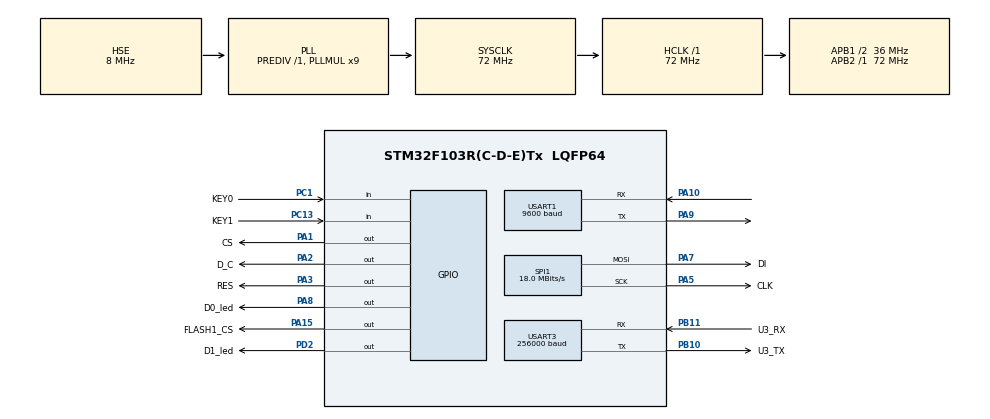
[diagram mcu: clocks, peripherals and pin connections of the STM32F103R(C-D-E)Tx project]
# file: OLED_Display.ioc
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Dma.Request0=SPI1_TX
Dma.Request1=USART3_TX
Dma.SPI1_TX.0.Direction=DMA_MEMORY_TO_PERIPH
Dma.SPI1_TX.0.Instance=DMA1_Channel3
Dma.SPI1_TX.0.MemDataAlignment=DMA_MDATAALIGN_BYTE
Dma.SPI1_TX.0.MemInc=DMA_MINC_ENABLE
Dma.SPI1_TX.0.Mode=DMA_NORMAL
Dma.SPI1_TX.0.PeriphDataAlignment=DMA_PDATAALIGN_BYTE
Dma.SPI1_TX.0.PeriphInc=DMA_PINC_DISABLE
Dma.SPI1_TX.0.Priority=DMA_PRIORITY_VERY_HIGH
Dma.USART3_TX.1.Direction=DMA_MEMORY_TO_PERIPH
Dma.USART3_TX.1.Instance=DMA1_Channel2
Dma.USART3_TX.1.MemDataAlignment=DMA_MDATAALIGN_BYTE
Dma.USART3_TX.1.MemInc=DMA_MINC_ENABLE
Dma.USART3_TX.1.Mode=DMA_NORMAL
Dma.USART3_TX.1.PeriphDataAlignment=DMA_PDATAALIGN_BYTE
Dma.USART3_TX.1.PeriphInc=DMA_PINC_DISABLE
Dma.USART3_TX.1.Priority=DMA_PRIORITY_LOW
Mcu.Family=STM32F1
Mcu.Name=STM32F103R(C-D-E)Tx
Mcu.Package=LQFP64
NVIC.DMA1_Channel2_IRQn=true\:0\:0\:false\:false\:true\:false
NVIC.DMA1_Channel3_IRQn=true\:0\:0\:false\:false\:true\:false
NVIC.PriorityGroup=NVIC_PRIORITYGROUP_4
NVIC.RCC_IRQn=true\:0\:0\:false\:true\:true\:1\:true
NVIC.USART1_IRQn=true\:1\:0\:true\:true\:true\:3\:true
NVIC.USART3_IRQn=true\:1\:0\:true\:true\:true\:2\:true
PA1.GPIO_Label=CS
PA1.GPIO_Speed=GPIO_SPEED_FREQ_HIGH
PA1.PinState=GPIO_PIN_SET
PA1.Signal=GPIO_Output
PA10.Mode=Asynchronous
PA10.Signal=USART1_RX
PA13.Mode=Serial_Wire
PA13.Signal=SYS_JTMS-SWDIO
PA14.Mode=Serial_Wire
PA14.Signal=SYS_JTCK-SWCLK
PA15.GPIO_Label=FLASH1_CS
PA15.GPIO_Speed=GPIO_SPEED_FREQ_HIGH
PA15.PinState=GPIO_PIN_SET
PA15.Signal=GPIO_Output
PA2.GPIO_Label=D_C
PA2.GPIO_Speed=GPIO_SPEED_FREQ_HIGH
PA2.PinState=GPIO_PIN_SET
PA2.Signal=GPIO_Output
PA3.GPIO_Label=RES
PA3.GPIO_Speed=GPIO_SPEED_FREQ_HIGH
PA3.PinState=GPIO_PIN_SET
PA3.Signal=GPIO_Output
PA5.GPIO_Label=CLK
PA5.Mode=TX_Only_Simplex_Unidirect_Master
PA5.Signal=SPI1_SCK
PA7.GPIO_Label=DI
PA7.Mode=TX_Only_Simplex_Unidirect_Master
PA7.Signal=SPI1_MOSI
PA8.GPIO_Label=D0_led
PA8.PinState=GPIO_PIN_SET
PA8.Signal=GPIO_Output
PA9.Mode=Asynchronous
PA9.Signal=USART1_TX
PB10.GPIO_Label=U3_TX
PB10.Mode=Asynchronous
PB10.Signal=USART3_TX
PB11.GPIO_Label=U3_RX
PB11.Mode=Asynchronous
PB11.Signal=USART3_RX
PC1.GPIO_Label=KEY0
PC1.GPIO_PuPd=GPIO_PULLUP
PC1.Signal=GPIO_Input
PC13-TAMPER-RTC.GPIO_Label=KEY1
PC13-TAMPER-RTC.GPIO_PuPd=GPIO_PULLUP
PC13-TAMPER-RTC.Signal=GPIO_Input
PD0-OSC_IN.Mode=HSE-External-Oscillator
PD0-OSC_IN.Signal=RCC_OSC_IN
PD1-OSC_OUT.Mode=HSE-External-Oscillator
PD1-OSC_OUT.Signal=RCC_OSC_OUT
PD2.GPIO_Label=D1_led
PD2.PinState=GPIO_PIN_SET
PD2.Signal=GPIO_Output
ProjectManager.HeapSize=0x200
ProjectManager.StackSize=0x400
ProjectManager.TargetToolchain=TrueSTUDIO
RCC.AHBFreq_Value=72000000
RCC.APB1CLKDivider=RCC_HCLK_DIV2
RCC.APB1Freq_Value=36000000
RCC.APB1TimFreq_Value=72000000
RCC.APB2Freq_Value=72000000
RCC.APB2TimFreq_Value=72000000
RCC.EnbaleCSS=true
RCC.HCLKFreq_Value=72000000
RCC.PLLMUL=RCC_PLL_MUL9
RCC.PLLSourceVirtual=RCC_PLLSOURCE_HSE
RCC.SYSCLKFreq_VALUE=72000000
RCC.SYSCLKSource=RCC_SYSCLKSOURCE_PLLCLK
RCC.USBFreq_Value=72000000
SPI1.BaudRatePrescaler=SPI_BAUDRATEPRESCALER_4
SPI1.CalculateBaudRate=18.0 MBits/s
SPI1.Direction=SPI_DIRECTION_2LINES
SPI1.Mode=SPI_MODE_MASTER
SPI1.VirtualType=VM_MASTER
USART1.BaudRate=9600
USART1.VirtualMode=VM_ASYNC
USART3.BaudRate=256000
USART3.VirtualMode=VM_ASYNC
board=OLED_Display

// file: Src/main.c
/**
  ******************************************************************************
  * File Name          : main.c
  * Description        : Main program body
  ******************************************************************************
  ** This notice applies to any and all portions of this file
  * that are not between comment pairs USER CODE BEGIN and
  * USER CODE END. Other portions of this file, whether
  * inserted by the user or by software development tools
  * are owned by their respective copyright owners.
  *
  * COPYRIGHT(c) 2018 STMicroelectronics
  *
  * Redistribution and use in source and binary forms, with or without modification,
  * are permitted provided that the following conditions are met:
  *   1. Redistributions of source code must retain the above copyright notice,
  *      this list of conditions and the following disclaimer.
  *   2. Redistributions in binary form must reproduce the above copyright notice,
  *      this list of conditions and the following disclaimer in the documentation
  *      and/or other materials provided with the distribution.
  *   3. Neither the name of STMicroelectronics nor the names of its contributors
  *      may be used to endorse or promote products derived from this software
  *      without specific prior written permission.
  *
  * THIS SOFTWARE IS PROVIDED BY THE COPYRIGHT HOLDERS AND CONTRIBUTORS "AS IS"
  * AND ANY EXPRESS OR IMPLIED WARRANTIES, INCLUDING, BUT NOT LIMITED TO, THE
  * IMPLIED WARRANTIES OF MERCHANTABILITY AND FITNESS FOR A PARTICULAR PURPOSE ARE
  * DISCLAIMED. IN NO EVENT SHALL THE COPYRIGHT HOLDER OR CONTRIBUTORS BE LIABLE
  * FOR ANY DIRECT, INDIRECT, INCIDENTAL, SPECIAL, EXEMPLARY, OR CONSEQUENTIAL
  * DAMAGES (INCLUDING, BUT NOT LIMITED TO, PROCUREMENT OF SUBSTITUTE GOODS OR
  * SERVICES; LOSS OF USE, DATA, OR PROFITS; OR BUSINESS INTERRUPTION) HOWEVER
  * CAUSED AND ON ANY THEORY OF LIABILITY, WHETHER IN CONTRACT, STRICT LIABILITY,
  * OR TORT (INCLUDING NEGLIGENCE OR OTHERWISE) ARISING IN ANY WAY OUT OF THE USE
  * OF THIS SOFTWARE, EVEN IF ADVISED OF THE POSSIBILITY OF SUCH DAMAGE.
  *
  ******************************************************************************
  */

#include "main.h"
#include "stm32f1xx_hal.h"

/* USER CODE BEGIN Includes */

#include "DRV/drv_SysClock.h"
#include "DRV/drv_LED.h"

#include "DRV/Images.h"
#include "DRV/drv_OLED_Display.h"

#define PORT_DI       GPIOA
#define PIN_DI        7

#define PORT_SCK      GPIOA
#define PIN_SCK       5

#define PORT_CS       GPIOA
#define PIN_CS        1

#define PORT_RESET    GPIOA
#define PIN_RESET     3

#define PORT_DC       GPIOA
#define PIN_DC        2

#define HEARTBIT_PORT     GPIOD
#define HEARTBIT_PIN      2
/* USER CODE END Includes */

SPI_HandleTypeDef hspi1;
DMA_HandleTypeDef hdma_spi1_tx;

UART_HandleTypeDef huart1;
UART_HandleTypeDef huart3;
DMA_HandleTypeDef hdma_usart3_tx;

/* USER CODE BEGIN PV */
/* Private variables ---------------------------------------------------------*/

/* USER CODE END PV */

void SystemClock_Config(void);
static void MX_GPIO_Init(void);
static void MX_DMA_Init(void);
static void MX_SPI1_Init(void);
static void MX_USART3_UART_Init(void);
static void MX_USART1_UART_Init(void);
static void MX_NVIC_Init(void);

/* USER CODE BEGIN PFP */
/* Private function prototypes -----------------------------------------------*/

/* USER CODE END PFP */

int main(void)
{

  /* MCU Configuration----------------------------------------------------------*/

  /* Reset of all peripherals, Initializes the Flash interface and the Systick. */
  HAL_Init();

  /* Configure the system clock */
  SystemClock_Config();

  /* Initialize all configured peripherals */
  MX_GPIO_Init();
  MX_DMA_Init();
  MX_SPI1_Init();
  MX_USART3_UART_Init();
  MX_USART1_UART_Init();

  /* Initialize interrupts */
  MX_NVIC_Init();

  /* USER CODE BEGIN 2 */
  drv_SysClock_Init();

  drv_Led_Init(HEARTBIT_PORT, HEARTBIT_PIN, 1, 0);
  drv_Led_SetMode(led_HEARTBIT, mode_BLINK);

  drv_OLED_Display_Init(&hspi1, PORT_DI, PORT_SCK, PORT_CS, PORT_DC, PORT_RESET,
		                PIN_DI, PIN_SCK, PIN_CS, PIN_DC, PIN_RESET);

  drv_OLED_Display_Clear();
  drv_OLED_Display_FillScreen(COLOR_BLACK);

picture_t Cross;
picture_t Heart;

Cross.heigh = 6;
Cross.width = 6;
Cross.image = crossPicture;

Heart.heigh = 10;
Heart.width = 14;
Heart.image = heartPicture;

  /* USER CODE END 2 */

  uint8_t index = 0;
  uint16_t colors[12] = {
		  COLOR_WHITE,
		  COLOR_BLACK,
		  COLOR_RED,
		  COLOR_PURP,
		  COLOR_GREEN,
		  COLOR_BLUE,
		  COLOR_YELLOW,
		  COLOR_SIEMENS,
		  COLOR_MAGENTA,
		  COLOR_LMAGENTA,
		  COLOR_TURQUOISE,
		  COLOR_DGREEN
  };

/*  drv_OLED_Display_DrawPictire(50, 50,
		                       Heart.width, Heart.heigh,
		                       Heart.image, COLOR_RED);
  drv_OLED_Display_DrawPictire(60, 47,
		                       Cross.width, Cross.heigh,
		                       Cross.image, COLOR_DGREEN);*/

  drv_OLED_Display_DrawImage(0, 0, 128, 128, imageMass);

  /*drv_OLED_Display_FillScreen(COLOR_BLACK);
  drv_OLED_Display_DrawPictire(50, 0,
		                       10, 10,
							   Numbers[0], COLOR_WHITE);
  drv_OLED_Display_DrawPictire(50, 10,
  		                       10, 10,
							   Numbers[(1 * 10)], COLOR_BLUE);
  drv_OLED_Display_DrawPictire(50, 20,
    		                       10, 10,
  							   Numbers[(2 * 10)], COLOR_BLUE);
  drv_OLED_Display_DrawPictire(50, 30,
    		                       10, 10,
  							   Numbers[(3 * 10)], COLOR_BLUE);
  drv_OLED_Display_DrawPictire(50, 40,
    		                       10, 10,
  							   Numbers[(4 * 10)], COLOR_BLUE);
  drv_OLED_Display_DrawPictire(50, 50,
    		                       10, 10,
  							   Numbers[(5 * 10)], COLOR_BLUE);
  drv_OLED_Display_DrawPictire(50, 60,
    		                       10, 10,
  							   Numbers[(6 * 10)], COLOR_BLUE);
  drv_OLED_Display_DrawPictire(50, 70,
    		                       10, 10,
  							   Numbers[(7 * 10)], COLOR_BLUE);
  drv_OLED_Display_DrawPictire(50, 80,
    		                       10, 10,
  							   Numbers[(8 * 10)], COLOR_BLUE);
  drv_OLED_Display_DrawPictire(50, 90,
    		                       10, 10,
  							   Numbers[(9 * 10)], COLOR_BLUE);*/

  static uint32_t time = 0;
  static uint8_t x = 0;
  static uint8_t y = 0;

  /* Infinite loop */
  while (1)
  {
    drv_Led_Run();

 /*   if (drv_SysClock_IsTimeSpent(time, 50)) {

    	  drv_OLED_Display_DrawPictire(x, y,
    			                       Cross.width, Cross.heigh,
    			                       Cross.image, COLOR_BLACK);

    	   x += 1;
    	   if( x > (126 - Cross.width) ){
    		   x = 0;
    		   y += Cross.heigh;
				if (y > (126 - Cross.heigh)) {
					y = 0;
				}
    	   }
    	   drv_OLED_Display_DrawPictire(50, 50,
    	 		                       Heart.width, Heart.heigh,
    	 		                       Heart.image, COLOR_RED);
    	   drv_OLED_Display_DrawPictire(x, y,
    	 		                       Cross.width, Cross.heigh,
    	 		                       Cross.image, COLOR_DGREEN);

			time = drv_SysClock_GetCurrentTime();
		}*/

   /* if (drv_SysClock_IsTimeSpent(time, 1000)) {
			drv_OLED_Display_FillRectangle(40, 40, 90, 90, colors[index]);

			for (uint8_t x = 10; x < 120; x += 10) {
				drv_OLED_Display_DrawPixel(x, 20, colors[index]);
			}

			index += 1;
			if (index > 11) {
				index = 0;
			}
			time = drv_SysClock_GetCurrentTime();
	}*/

  }

}

/** System Clock Configuration
*/
void SystemClock_Config(void)
{

  RCC_OscInitTypeDef RCC_OscInitStruct;
  RCC_ClkInitTypeDef RCC_ClkInitStruct;

    /**Initializes the CPU, AHB and APB busses clocks
    */
  RCC_OscInitStruct.OscillatorType = RCC_OSCILLATORTYPE_HSE;
  RCC_OscInitStruct.HSEState = RCC_HSE_ON;
  RCC_OscInitStruct.HSEPredivValue = RCC_HSE_PREDIV_DIV1;
  RCC_OscInitStruct.HSIState = RCC_HSI_ON;
  RCC_OscInitStruct.PLL.PLLState = RCC_PLL_ON;
  RCC_OscInitStruct.PLL.PLLSource = RCC_PLLSOURCE_HSE;
  RCC_OscInitStruct.PLL.PLLMUL = RCC_PLL_MUL9;
  if (HAL_RCC_OscConfig(&RCC_OscInitStruct) != HAL_OK)
  {
    _Error_Handler(__FILE__, __LINE__);
  }

    /**Initializes the CPU, AHB and APB busses clocks
    */
  RCC_ClkInitStruct.ClockType = RCC_CLOCKTYPE_HCLK|RCC_CLOCKTYPE_SYSCLK
                              |RCC_CLOCKTYPE_PCLK1|RCC_CLOCKTYPE_PCLK2;
  RCC_ClkInitStruct.SYSCLKSource = RCC_SYSCLKSOURCE_PLLCLK;
  RCC_ClkInitStruct.AHBCLKDivider = RCC_SYSCLK_DIV1;
  RCC_ClkInitStruct.APB1CLKDivider = RCC_HCLK_DIV2;
  RCC_ClkInitStruct.APB2CLKDivider = RCC_HCLK_DIV1;

  if (HAL_RCC_ClockConfig(&RCC_ClkInitStruct, FLASH_LATENCY_2) != HAL_OK)
  {
    _Error_Handler(__FILE__, __LINE__);
  }

    /**Enables the Clock Security System
    */
  HAL_RCC_EnableCSS();

    /**Configure the Systick interrupt time
    */
  HAL_SYSTICK_Config(HAL_RCC_GetHCLKFreq()/1000);

    /**Configure the Systick
    */
  HAL_SYSTICK_CLKSourceConfig(SYSTICK_CLKSOURCE_HCLK);

  /* SysTick_IRQn interrupt configuration */
  HAL_NVIC_SetPriority(SysTick_IRQn, 0, 0);
}

/** NVIC Configuration
*/
static void MX_NVIC_Init(void)
{
  /* RCC_IRQn interrupt configuration */
  HAL_NVIC_SetPriority(RCC_IRQn, 0, 0);
  HAL_NVIC_EnableIRQ(RCC_IRQn);
  /* USART3_IRQn interrupt configuration */
  HAL_NVIC_SetPriority(USART3_IRQn, 1, 0);
  HAL_NVIC_EnableIRQ(USART3_IRQn);
  /* USART1_IRQn interrupt configuration */
  HAL_NVIC_SetPriority(USART1_IRQn, 1, 0);
  HAL_NVIC_EnableIRQ(USART1_IRQn);
}

/* SPI1 init function */
static void MX_SPI1_Init(void)
{

  /* SPI1 parameter configuration*/
  hspi1.Instance = SPI1;
  hspi1.Init.Mode = SPI_MODE_MASTER;
  hspi1.Init.Direction = SPI_DIRECTION_1LINE;
  hspi1.Init.DataSize = SPI_DATASIZE_8BIT;
  hspi1.Init.CLKPolarity = SPI_POLARITY_LOW;
  hspi1.Init.CLKPhase = SPI_PHASE_1EDGE;
  hspi1.Init.NSS = SPI_NSS_SOFT;
  hspi1.Init.BaudRatePrescaler = SPI_BAUDRATEPRESCALER_4;
  hspi1.Init.FirstBit = SPI_FIRSTBIT_MSB;
  hspi1.Init.TIMode = SPI_TIMODE_DISABLE;
  hspi1.Init.CRCCalculation = SPI_CRCCALCULATION_DISABLE;
  hspi1.Init.CRCPolynomial = 7;
  if (HAL_SPI_Init(&hspi1) != HAL_OK)
  {
    _Error_Handler(__FILE__, __LINE__);
  }

}

/* USART1 init function */
static void MX_USART1_UART_Init(void)
{

  huart1.Instance = USART1;
  huart1.Init.BaudRate = 9600;
  huart1.Init.WordLength = UART_WORDLENGTH_8B;
  huart1.Init.StopBits = UART_STOPBITS_1;
  huart1.Init.Parity = UART_PARITY_NONE;
  huart1.Init.Mode = UART_MODE_TX_RX;
  huart1.Init.HwFlowCtl = UART_HWCONTROL_NONE;
  huart1.Init.OverSampling = UART_OVERSAMPLING_16;
  if (HAL_UART_Init(&huart1) != HAL_OK)
  {
    _Error_Handler(__FILE__, __LINE__);
  }

}

/* USART3 init function */
static void MX_USART3_UART_Init(void)
{

  huart3.Instance = USART3;
  huart3.Init.BaudRate = 256000;
  huart3.Init.WordLength = UART_WORDLENGTH_8B;
  huart3.Init.StopBits = UART_STOPBITS_1;
  huart3.Init.Parity = UART_PARITY_NONE;
  huart3.Init.Mode = UART_MODE_TX_RX;
  huart3.Init.HwFlowCtl = UART_HWCONTROL_NONE;
  huart3.Init.OverSampling = UART_OVERSAMPLING_16;
  if (HAL_UART_Init(&huart3) != HAL_OK)
  {
    _Error_Handler(__FILE__, __LINE__);
  }

}

static void MX_DMA_Init(void)
{
  /* DMA controller clock enable */
  __HAL_RCC_DMA1_CLK_ENABLE();

  /* DMA interrupt init */
  /* DMA1_Channel2_IRQn interrupt configuration */
  HAL_NVIC_SetPriority(DMA1_Channel2_IRQn, 0, 0);
  HAL_NVIC_EnableIRQ(DMA1_Channel2_IRQn);
  /* DMA1_Channel3_IRQn interrupt configuration */
  HAL_NVIC_SetPriority(DMA1_Channel3_IRQn, 0, 0);
  HAL_NVIC_EnableIRQ(DMA1_Channel3_IRQn);

}

/** Configure pins as
        * Analog
        * Input
        * Output
        * EVENT_OUT
        * EXTI
*/
static void MX_GPIO_Init(void)
{

  GPIO_InitTypeDef GPIO_InitStruct;

  /* GPIO Ports Clock Enable */
  __HAL_RCC_GPIOC_CLK_ENABLE();
  __HAL_RCC_GPIOD_CLK_ENABLE();
  __HAL_RCC_GPIOA_CLK_ENABLE();
  __HAL_RCC_GPIOB_CLK_ENABLE();

  /*Configure GPIO pin Output Level */
  HAL_GPIO_WritePin(GPIOA, CS_Pin|D_C_Pin|RES_Pin|D0_led_Pin
                          |FLASH1_CS_Pin, GPIO_PIN_SET);

  /*Configure GPIO pin Output Level */
  HAL_GPIO_WritePin(D1_led_GPIO_Port, D1_led_Pin, GPIO_PIN_SET);

  /*Configure GPIO pins : KEY1_Pin KEY0_Pin */
  GPIO_InitStruct.Pin = KEY1_Pin|KEY0_Pin;
  GPIO_InitStruct.Mode = GPIO_MODE_INPUT;
  GPIO_InitStruct.Pull = GPIO_PULLUP;
  HAL_GPIO_Init(GPIOC, &GPIO_InitStruct);

  /*Configure GPIO pins : CS_Pin D_C_Pin RES_Pin FLASH1_CS_Pin */
  GPIO_InitStruct.Pin = CS_Pin|D_C_Pin|RES_Pin|FLASH1_CS_Pin;
  GPIO_InitStruct.Mode = GPIO_MODE_OUTPUT_PP;
  GPIO_InitStruct.Speed = GPIO_SPEED_FREQ_HIGH;
  HAL_GPIO_Init(GPIOA, &GPIO_InitStruct);

  /*Configure GPIO pin : D0_led_Pin */
  GPIO_InitStruct.Pin = D0_led_Pin;
  GPIO_InitStruct.Mode = GPIO_MODE_OUTPUT_PP;
  GPIO_InitStruct.Speed = GPIO_SPEED_FREQ_LOW;
  HAL_GPIO_Init(D0_led_GPIO_Port, &GPIO_InitStruct);

  /*Configure GPIO pin : D1_led_Pin */
  GPIO_InitStruct.Pin = D1_led_Pin;
  GPIO_InitStruct.Mode = GPIO_MODE_OUTPUT_PP;
  GPIO_InitStruct.Speed = GPIO_SPEED_FREQ_LOW;
  HAL_GPIO_Init(D1_led_GPIO_Port, &GPIO_InitStruct);

}

void _Error_Handler(char * file, int line)
{
  while(1)
  {
  }
}

/************************ (C) COPYRIGHT STMicroelectronics *****END OF FILE****/
